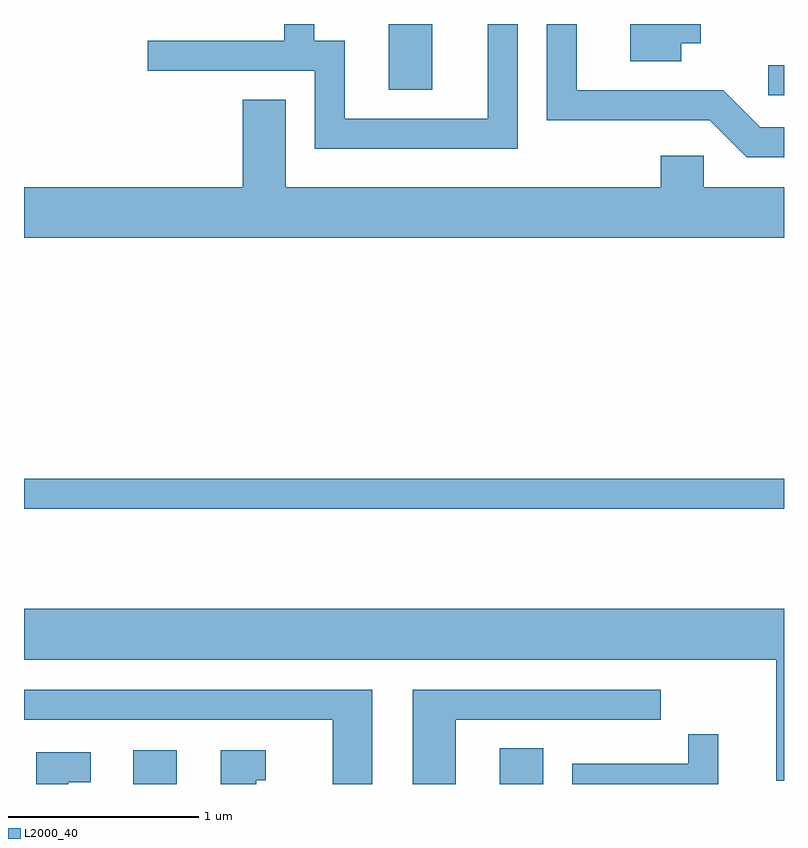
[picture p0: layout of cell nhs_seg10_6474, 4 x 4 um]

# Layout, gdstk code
import gdstk
lib = gdstk.Library(unit=1e-6, precision=1e-09)
def R(c, l, rs):  # rectangles x0, y0, x1, y1
    for r in rs: c.add(gdstk.rectangle(r[:2], r[2:], *l))
def P(c, l, *ps):  # polygons
    for p in ps: c.add(gdstk.Polygon(p, *l))
L2000_40 = (2000, 40)

nhs_seg10_6474 = lib.new_cell('nhs_seg10_6474')
R(nhs_seg10_6474, L2000_40, [(376.186,2186.522,376.414,2186.699), (378.116,2186.522,378.344,2186.709), (375.611,2187.971,379.611,2188.129), (379.528,2190.146,379.611,2190.304), (377.531,2190.176,377.759,2190.522)])
P(nhs_seg10_6474, L2000_40, [(378.209,2190.522),(378.051,2190.522),(378.051,2190.024),(377.299,2190.024),(377.299,2190.434),(377.139,2190.434),(377.139,2190.522),(376.981,2190.522),(376.981,2190.434),(376.263,2190.434),(376.263,2190.276),(377.141,2190.276),(377.141,2189.866),(378.209,2189.866)],
  [(379.611,2189.979),(379.487,2189.979),(379.292,2190.174),(378.519,2190.174),(378.519,2190.522),(378.361,2190.522),(378.361,2190.016),(379.219,2190.016),(379.414,2189.821),(379.611,2189.821)],
  [(379.069,2190.421),(379.174,2190.421),(379.174,2190.522),(378.801,2190.522),(378.801,2190.326),(379.069,2190.326)],
  [(379.611,2189.664),(379.189,2189.664),(379.189,2189.829),(378.961,2189.829),(378.961,2189.664),(376.989,2189.664),(376.989,2190.124),(376.761,2190.124),(376.761,2189.664),(375.611,2189.664),(375.611,2189.396),(379.611,2189.396)],
  [(379.611,2187.444),(375.611,2187.444),(375.611,2187.176),(379.571,2187.176),(379.571,2186.538),(379.611,2186.538)],
  [(377.444,2187.019),(375.611,2187.019),(375.611,2186.861),(377.236,2186.861),(377.236,2186.522),(377.444,2186.522)],
  [(377.884,2186.861),(378.963,2186.861),(378.963,2187.019),(377.656,2187.019),(377.656,2186.522),(377.884,2186.522)],
  [(379.264,2186.783),(379.106,2186.783),(379.106,2186.629),(378.496,2186.629),(378.496,2186.522),(379.264,2186.522)],
  [(376.834,2186.541),(376.883,2186.541),(376.883,2186.699),(376.646,2186.699),(376.646,2186.522),(376.834,2186.522)],
  [(375.844,2186.531),(375.963,2186.531),(375.963,2186.689),(375.676,2186.689),(375.676,2186.522),(375.844,2186.522)])

lib.write_gds('nhs_seg10_6474.gds')
